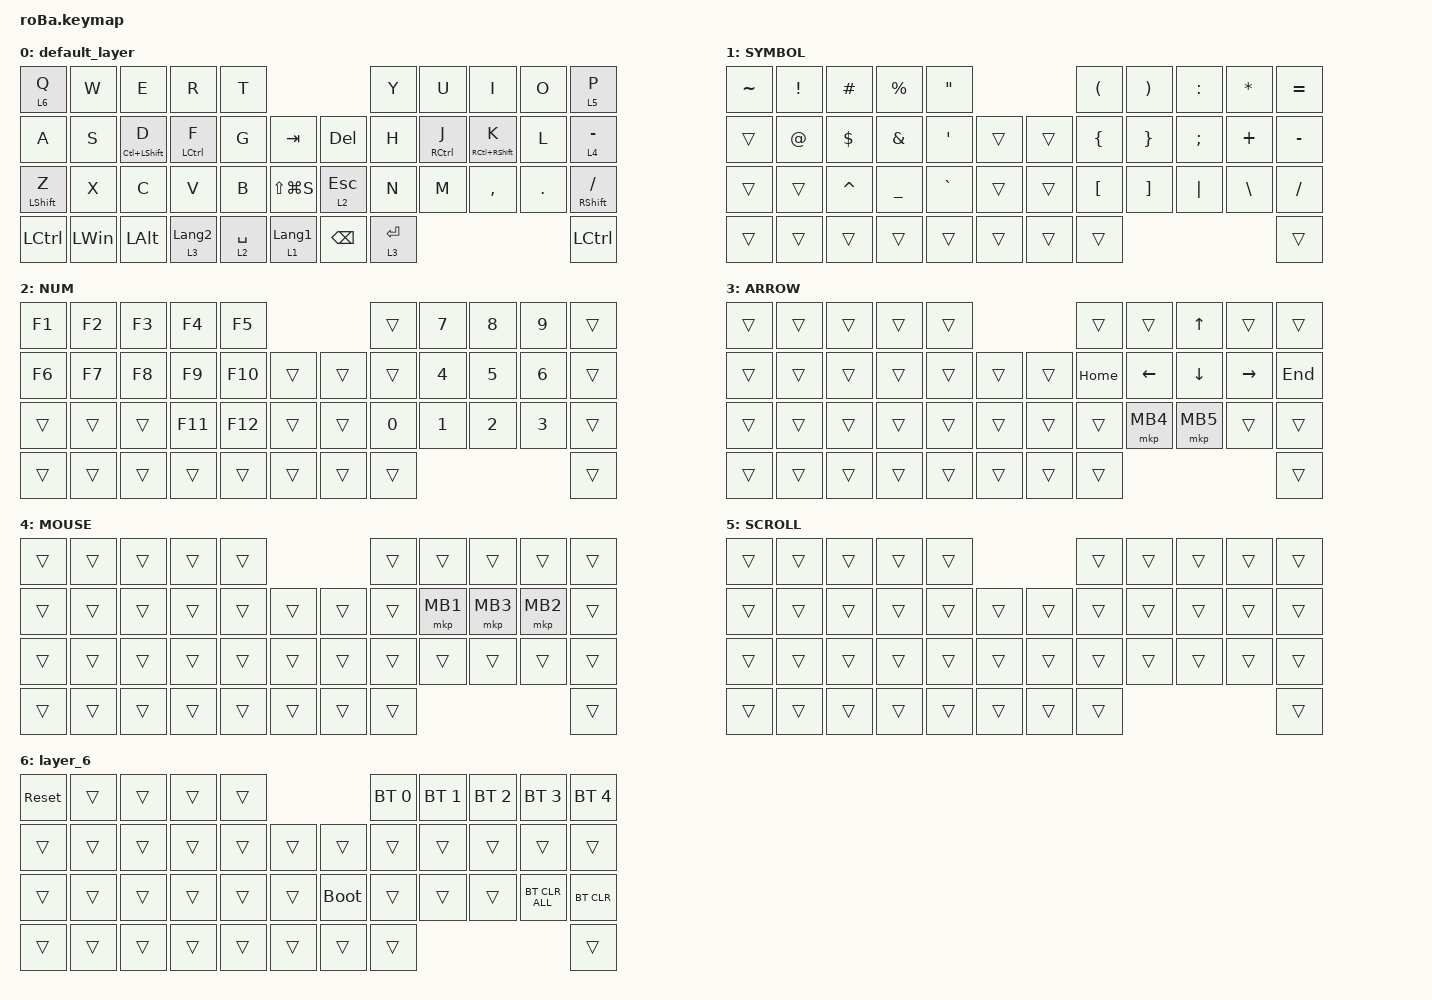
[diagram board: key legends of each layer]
#include <input/processors.dtsi>
#include <behaviors.dtsi>
#include <dt-bindings/zmk/bt.h>
#include <dt-bindings/zmk/keys.h>
#include <dt-bindings/zmk/pointing.h>

&mt {
    flavor = "balanced";
    quick-tap-ms = <0>;
};

&sl { release-after-ms = <300>; };

&trackball {
    // automouse-layer = <4>;

    scroll-layers = <5>;

    // arrows {
    //     layers = <3>;
    //     bindings =
    //         <&kp RIGHT_ARROW>,
    //         <&kp LEFT_ARROW>,
    //         <&kp UP_ARROW>,
    //         <&kp DOWN_ARROW>;
    //     tick = <10>;
    //     wait-ms = <5>;
    //     tap-ms = <5>;
    // };
};

&trackball_listener {
    input-processors = <&zip_xy_scaler 0 1>;   // デフォルト: 移動量0倍=カーソル動かない
    mouse_active {
        layers = <4>;                          // レイヤー4(MOUSE)の間だけ
        input-processors = <&zip_xy_scaler 1 1>;  // 通常倍率で反映
    };
};

/ {
    combos { compatible = "zmk,combos"; };

    keymap {
        compatible = "zmk,keymap";

        default_layer {
            bindings = <
&lt 6 Q       &kp W         &kp E             &kp R             &kp T                                             &kp Y        &kp U        &kp I            &kp O    &lt 5 P
&kp A         &kp S         &mt LC(LSHIFT) D  &mt LCTRL F       &kp G        &kp TAB               &kp DELETE     &kp H        &mt RCTRL J  &mt RC(RSHFT) K  &kp L    &lt 4 MINUS
&mt LSHIFT Z  &kp X         &kp C             &kp V             &kp B        &kp LS(LG(S))         &lt 2 ESCAPE   &kp N        &kp M        &kp COMMA        &kp DOT  &mt RIGHT_SHIFT SLASH
&kp LCTRL     &kp LEFT_WIN  &kp LEFT_ALT      &lt 3 LANGUAGE_2  &lt 2 SPACE  &lt 1 LANGUAGE_1      &kp BACKSPACE  &lt 3 ENTER                                         &kp LEFT_CONTROL
            >;
        };

        SYMBOL {
            bindings = <
&kp TILDE  &kp EXCLAMATION  &kp HASH    &kp PERCENT    &kp DOUBLE_QUOTES                      &kp LEFT_PARENTHESIS  &kp RIGHT_PARENTHESIS  &kp COLON      &kp ASTERISK   &kp EQUAL
&trans     &kp AT_SIGN      &kp DOLLAR  &kp AMPERSAND  &kp SINGLE_QUOTE   &trans      &trans  &kp LEFT_BRACE        &kp RIGHT_BRACE        &kp SEMICOLON  &kp PLUS       &kp MINUS
&trans     &trans           &kp CARET   &kp UNDER      &kp GRAVE          &trans      &trans  &kp LEFT_BRACKET      &kp RIGHT_BRACKET      &kp PIPE       &kp BACKSLASH  &kp SLASH
&trans     &trans           &trans      &trans         &trans             &trans      &trans  &trans                                                                     &trans
            >;
        };

        NUM {
            bindings = <
&kp F1  &kp F2  &kp F3  &kp F4   &kp F5                       &trans  &kp N7        &kp N8        &kp N9        &trans
&kp F6  &kp F7  &kp F8  &kp F9   &kp F10  &trans      &trans  &trans  &kp NUMBER_4  &kp N5        &kp NUMBER_6  &trans
&trans  &trans  &trans  &kp F11  &kp F12  &trans      &trans  &kp N0  &kp NUMBER_1  &kp NUMBER_2  &kp NUMBER_3  &trans
&trans  &trans  &trans  &trans   &trans   &trans      &trans  &trans                                            &trans
            >;
        };

        ARROW {
            bindings = <
&trans  &trans  &trans  &trans  &trans                      &trans    &trans    &kp UP_ARROW  &trans     &trans
&trans  &trans  &trans  &trans  &trans  &trans      &trans  &kp HOME  &kp LEFT  &kp DOWN      &kp RIGHT  &kp END
&trans  &trans  &trans  &trans  &trans  &trans      &trans  &trans    &mkp MB4  &mkp MB5      &trans     &trans
&trans  &trans  &trans  &trans  &trans  &trans      &trans  &trans                                       &trans
            >;
        };

        MOUSE {
            bindings = <
&trans  &trans  &trans  &trans  &trans                      &trans  &trans    &trans    &trans    &trans
&trans  &trans  &trans  &trans  &trans  &trans      &trans  &trans  &mkp MB1  &mkp MB3  &mkp MB2  &trans
&trans  &trans  &trans  &trans  &trans  &trans      &trans  &trans  &trans    &trans    &trans    &trans
&trans  &trans  &trans  &trans  &trans  &trans      &trans  &trans                                &trans
            >;
        };

        SCROLL {
            bindings = <
&trans  &trans  &trans  &trans  &trans                      &trans  &trans  &trans  &trans  &trans
&trans  &trans  &trans  &trans  &trans  &trans      &trans  &trans  &trans  &trans  &trans  &trans
&trans  &trans  &trans  &trans  &trans  &trans      &trans  &trans  &trans  &trans  &trans  &trans
&trans  &trans  &trans  &trans  &trans  &trans      &trans  &trans                          &trans
            >;
        };

        layer_6 {
            bindings = <
&sys_reset  &trans  &trans  &trans  &trans                           &bt BT_SEL 0  &bt BT_SEL 1  &bt BT_SEL 2  &bt BT_SEL 3    &bt BT_SEL 4
&trans      &trans  &trans  &trans  &trans  &trans      &trans       &trans        &trans        &trans        &trans          &trans
&trans      &trans  &trans  &trans  &trans  &trans      &bootloader  &trans        &trans        &trans        &bt BT_CLR_ALL  &bt BT_CLR
&trans      &trans  &trans  &trans  &trans  &trans      &trans       &trans                                                    &trans
            >;
        };
    };
};
